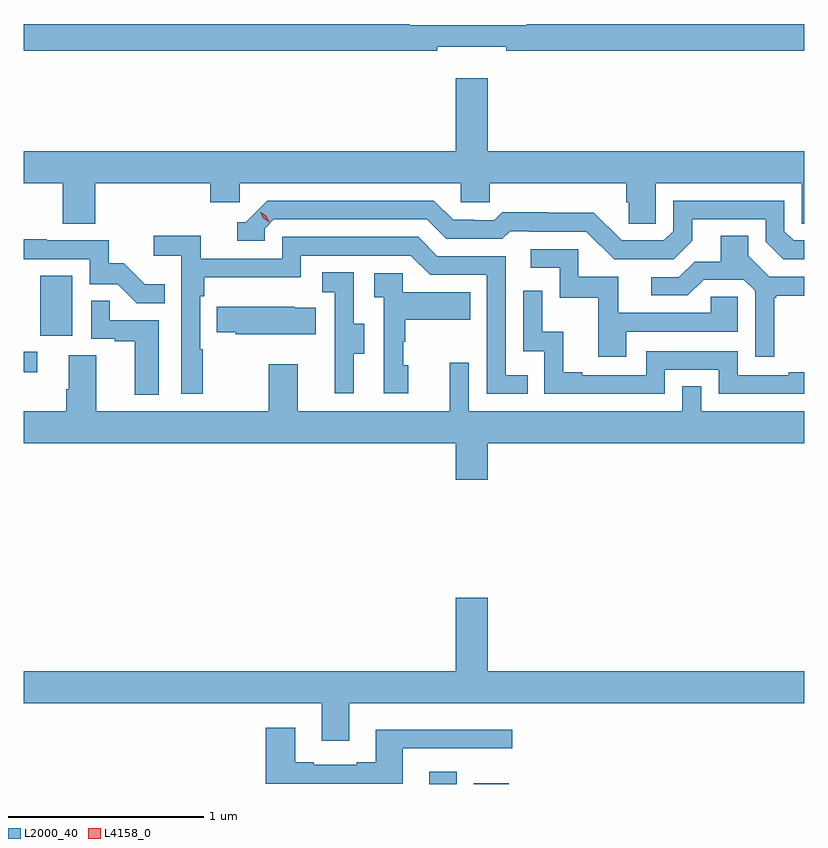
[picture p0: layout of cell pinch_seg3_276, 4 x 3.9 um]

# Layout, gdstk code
import gdstk
lib = gdstk.Library(unit=1e-6, precision=1e-09)
def R(c, l, rs):  # rectangles x0, y0, x1, y1
    for r in rs: c.add(gdstk.rectangle(r[:2], r[2:], *l))
def P(c, l, *ps):  # polygons
    for p in ps: c.add(gdstk.Polygon(p, *l))
L2000_40 = (2000, 40)
L4158_0 = (4158, 0)

pinch_seg3_276 = lib.new_cell('pinch_seg3_276')
R(pinch_seg3_276, L2000_40, [(932.105,708.493,932.245,708.556), (932.333,708.493,932.512,708.496), (930.026,710.604,930.094,710.709), (930.11,710.79,930.274,711.097)])
P(pinch_seg3_276, L2000_40, [(932.144,712.271),(932.5,712.271),(932.5,712.252),(934.026,712.252),(934.026,712.388),(932.603,712.388),(932.603,712.381),(932.003,712.381),(932.003,712.388),(930.026,712.388),(930.026,712.252),(932.144,712.252)],
  [(930.392,711.572),(930.983,711.572),(930.983,711.474),(931.134,711.474),(931.134,711.572),(932.265,711.572),(932.265,711.474),(932.415,711.474),(932.415,711.572),(933.113,711.572),(933.113,711.474),(933.127,711.474),(933.127,711.364),(933.264,711.364),(933.264,711.572),(934.014,711.572),(934.014,711.364),(934.026,711.364),(934.026,711.736),(932.404,711.736),(932.404,712.111),(932.24,712.111),(932.24,711.736),(930.026,711.736),(930.026,711.572),(930.227,711.572),(930.227,711.364),(930.392,711.364)],
  [(933.451,711.277),(933.451,711.387),(933.828,711.387),(933.828,711.273),(933.918,711.183),(934.026,711.183),(934.026,711.279),(933.972,711.279),(933.924,711.327),(933.924,711.483),(933.354,711.483),(933.354,711.327),(933.306,711.279),(933.09,711.279),(932.948,711.421),(932.712,711.421),(932.712,711.424),(932.479,711.424),(932.437,711.381),(932.334,711.381),(932.334,711.384),(932.227,711.384),(932.128,711.483),(931.275,711.483),(931.164,711.372),(931.121,711.372),(931.121,711.276),(931.26,711.276),(931.26,711.339),(931.308,711.387),(932.091,711.387),(932.19,711.288),(932.479,711.288),(932.518,711.327),(932.617,711.327),(932.617,711.324),(932.91,711.324),(933.051,711.183),(933.357,711.183)],
  [(933.871,710.985),(933.883,710.985),(933.883,710.996),(934.026,710.996),(934.026,711.093),(933.846,711.093),(933.739,711.2),(933.739,711.302),(933.599,711.302),(933.599,711.17),(933.464,711.17),(933.384,711.09),(933.243,711.09),(933.243,710.997),(933.43,710.997),(933.511,711.078),(933.717,711.078),(933.774,711.021),(933.774,710.682),(933.871,710.682)],
  [(930.943,710.72),(930.93,710.72),(930.93,710.993),(930.95,710.993),(930.95,711.089),(931.446,711.089),(931.446,711.201),(932.01,711.201),(932.109,711.102),(932.4,711.102),(932.4,710.493),(932.609,710.493),(932.609,710.589),(932.496,710.589),(932.496,711.198),(932.146,711.198),(932.047,711.297),(931.35,711.297),(931.35,711.186),(930.932,711.186),(930.932,711.302),(930.693,711.302),(930.693,711.2),(930.834,711.2),(930.834,710.493),(930.943,710.493)],
  [(930.749,711.055),(930.645,711.055),(930.538,711.162),(930.462,711.162),(930.462,711.279),(930.143,711.279),(930.143,711.284),(930.026,711.284),(930.026,711.183),(930.363,711.183),(930.363,711.054),(930.508,711.054),(930.606,710.956),(930.749,710.956)],
  [(933.115,710.811),(933.684,710.811),(933.684,710.991),(933.547,710.991),(933.547,710.907),(933.073,710.907),(933.073,711.093),(932.868,711.093),(932.868,711.234),(932.625,711.234),(932.625,711.138),(932.772,711.138),(932.772,710.985),(932.971,710.985),(932.971,710.682),(933.115,710.682)],
  [(931.717,710.698),(931.771,710.698),(931.771,710.853),(931.716,710.853),(931.716,711.116),(931.557,711.116),(931.557,711.013),(931.62,711.013),(931.62,710.709),(931.619,710.709),(931.619,710.496),(931.717,710.496)],
  [(931.996,710.64),(931.971,710.64),(931.971,710.759),(931.981,710.759),(931.981,710.873),(932.315,710.873),(932.315,711.013),(931.968,711.013),(931.968,711.111),(931.821,711.111),(931.821,710.987),(931.872,710.987),(931.872,710.496),(931.996,710.496)],
  [(933.312,710.616),(933.588,710.616),(933.588,710.493),(934.026,710.493),(934.026,710.602),(933.947,710.602),(933.947,710.589),(933.684,710.589),(933.684,710.712),(933.216,710.712),(933.216,710.589),(932.887,710.589),(932.887,710.602),(932.792,710.602),(932.792,710.81),(932.682,710.81),(932.682,711.022),(932.586,711.022),(932.586,710.712),(932.694,710.712),(932.694,710.493),(933.312,710.493)],
  [(930.718,710.871),(930.467,710.871),(930.467,710.969),(930.372,710.969),(930.372,710.775),(930.493,710.775),(930.493,710.763),(930.596,710.763),(930.596,710.489),(930.718,710.489)],
  [(931.523,710.935),(931.415,710.935),(931.415,710.938),(931.015,710.938),(931.015,710.809),(931.113,710.809),(931.113,710.798),(931.523,710.798)],
  [(932.404,710.24),(934.026,710.24),(934.026,710.404),(933.498,710.404),(933.498,710.531),(933.402,710.531),(933.402,710.404),(932.307,710.404),(932.307,710.653),(932.21,710.653),(932.21,710.404),(931.429,710.404),(931.429,710.644),(931.282,710.644),(931.282,710.404),(930.397,710.404),(930.397,710.69),(930.257,710.69),(930.257,710.516),(930.245,710.516),(930.245,710.404),(930.026,710.404),(930.026,710.24),(932.24,710.24),(932.24,710.052),(932.404,710.052)],
  [(931.693,708.908),(934.026,708.908),(934.026,709.072),(932.404,709.072),(932.404,709.447),(932.24,709.447),(932.24,709.072),(930.026,709.072),(930.026,708.908),(931.553,708.908),(931.553,708.714),(931.693,708.714)],
  [(931.969,708.675),(932.53,708.675),(932.53,708.772),(931.829,708.772),(931.829,708.604),(931.733,708.604),(931.733,708.591),(931.513,708.591),(931.513,708.604),(931.417,708.604),(931.417,708.781),(931.265,708.781),(931.265,708.494),(931.969,708.494)])
P(pinch_seg3_276, L4158_0, [(931.284,711.373),(931.253,711.393),(931.237,711.425),(931.237,711.426),(931.238,711.426),(931.268,711.406),(931.285,711.374),(931.285,711.373)])

lib.write_gds('pinch_seg3_276.gds')
